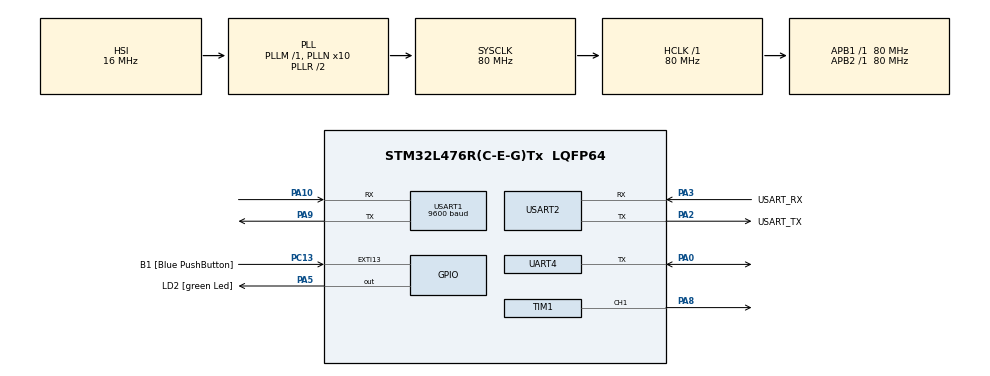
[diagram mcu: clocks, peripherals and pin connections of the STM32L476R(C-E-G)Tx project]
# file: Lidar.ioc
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Dma.Request0=UART4_RX
Dma.UART4_RX.0.Direction=DMA_PERIPH_TO_MEMORY
Dma.UART4_RX.0.Instance=DMA2_Channel5
Dma.UART4_RX.0.MemDataAlignment=DMA_MDATAALIGN_BYTE
Dma.UART4_RX.0.MemInc=DMA_MINC_ENABLE
Dma.UART4_RX.0.Mode=DMA_NORMAL
Dma.UART4_RX.0.PeriphDataAlignment=DMA_PDATAALIGN_BYTE
Dma.UART4_RX.0.PeriphInc=DMA_PINC_DISABLE
Dma.UART4_RX.0.Priority=DMA_PRIORITY_LOW
Mcu.Family=STM32L4
Mcu.Name=STM32L476R(C-E-G)Tx
Mcu.Package=LQFP64
NVIC.DMA2_Channel5_IRQn=true\:0\:0\:false\:false\:true\:false\:true\:true
NVIC.PriorityGroup=NVIC_PRIORITYGROUP_4
NVIC.UART4_IRQn=true\:0\:0\:false\:false\:true\:true\:true\:true
PA0.Mode=Half_duplex(single_wire_mode)
PA0.Signal=UART4_TX
PA10.Mode=Asynchronous
PA10.Signal=USART1_RX
PA13\ (JTMS-SWDIO).GPIO_Label=TMS
PA13\ (JTMS-SWDIO).Mode=Serial_Wire
PA13\ (JTMS-SWDIO).Signal=SYS_JTMS-SWDIO
PA14\ (JTCK-SWCLK).GPIO_Label=TCK
PA14\ (JTCK-SWCLK).Mode=Serial_Wire
PA14\ (JTCK-SWCLK).Signal=SYS_JTCK-SWCLK
PA2.GPIO_Label=USART_TX
PA2.GPIO_Mode=GPIO_MODE_AF_PP
PA2.GPIO_PuPd=GPIO_NOPULL
PA2.GPIO_Speed=GPIO_SPEED_FREQ_VERY_HIGH
PA2.Mode=Asynchronous
PA2.Signal=USART2_TX
PA3.GPIO_Label=USART_RX
PA3.GPIO_Mode=GPIO_MODE_AF_PP
PA3.GPIO_PuPd=GPIO_NOPULL
PA3.GPIO_Speed=GPIO_SPEED_FREQ_VERY_HIGH
PA3.Mode=Asynchronous
PA3.Signal=USART2_RX
PA5.GPIO_Label=LD2 [green Led]
PA5.GPIO_ModeDefaultOutputPP=GPIO_MODE_OUTPUT_PP
PA5.GPIO_PuPd=GPIO_NOPULL
PA5.GPIO_Speed=GPIO_SPEED_FREQ_LOW
PA5.Signal=GPIO_Output
PA8.Signal=S_TIM1_CH1
PA9.Mode=Asynchronous
PA9.Signal=USART1_TX
PB3\ (JTDO-TRACESWO).GPIO_Label=SWO
PB3\ (JTDO-TRACESWO).Signal=SYS_JTDO-SWO
PC13.GPIO_Label=B1 [Blue PushButton]
PC13.GPIO_ModeDefaultEXTI=GPIO_MODE_IT_FALLING
PC13.GPIO_PuPd=GPIO_NOPULL
PC13.Signal=GPXTI13
PC14-OSC32_IN\ (PC14).Mode=LSE-External-Oscillator
PC14-OSC32_IN\ (PC14).Signal=RCC_OSC32_IN
PC15-OSC32_OUT\ (PC15).Mode=LSE-External-Oscillator
PC15-OSC32_OUT\ (PC15).Signal=RCC_OSC32_OUT
PH0-OSC_IN\ (PH0).Signal=RCC_OSC_IN
PH1-OSC_OUT\ (PH1).Signal=RCC_OSC_OUT
ProjectManager.HeapSize=0x200
ProjectManager.StackSize=0x400
ProjectManager.TargetToolchain=CMake
RCC.ADCFreq_Value=64000000
RCC.AHBFreq_Value=80000000
RCC.APB1Freq_Value=80000000
RCC.APB1TimFreq_Value=80000000
RCC.APB2Freq_Value=80000000
RCC.APB2TimFreq_Value=80000000
RCC.CortexFreq_Value=80000000
RCC.HCLKFreq_Value=80000000
RCC.HSE_VALUE=8000000
RCC.HSI_VALUE=16000000
RCC.MSI_VALUE=4000000
RCC.PLLN=10
RCC.PLLSourceVirtual=RCC_PLLSOURCE_HSI
RCC.PREFETCH_ENABLE=1
RCC.SYSCLKFreq_VALUE=80000000
RCC.SYSCLKSource=RCC_SYSCLKSOURCE_PLLCLK
RCC.USBFreq_Value=64000000
RCC.VCOOutputFreq_Value=160000000
SH.S_TIM1_CH1.0=TIM1_CH1,PWM Generation1 CH1
TIM1.Channel-PWM\ Generation1\ CH1=TIM_CHANNEL_1
TIM1.Period=8000-1
UART4.Mode=MODE_TX_RX
USART1.BaudRate=9600
USART1.VirtualMode-Asynchronous=VM_ASYNC
USART2.VirtualMode-Asynchronous=VM_ASYNC
VP_TIM1_VS_ClockSourceINT.Mode=Internal
board=NUCLEO-L476RG

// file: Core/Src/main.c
/* USER CODE BEGIN Header */
/**
  ******************************************************************************
  * @file           : main.c
  * @brief          : Main program body
  ******************************************************************************
  * @attention
  *
  * Copyright (c) 2025 STMicroelectronics.
  * All rights reserved.
  *
  * This software is licensed under terms that can be found in the LICENSE file
  * in the root directory of this software component.
  * If no LICENSE file comes with this software, it is provided AS-IS.
  *
  ******************************************************************************
  */
/* USER CODE END Header */
#include "main.h"
#include "dma.h"
#include "tim.h"
#include "usart.h"
#include "gpio.h"

/* USER CODE BEGIN Includes */
#include <stdio.h>
#include "lidar.h"
#include "mp3.h"
/* USER CODE END Includes */

/* USER CODE BEGIN PV */
uint8_t lidar_buffer[UART_RX_BUFFER_SIZE];
uint8_t UART1_RxBuffer[UART_RX_BUFFER_SIZE];
int lidar_flag = 0;

uint8_t rxByte;
/* USER CODE END PV */

void SystemClock_Config(void);

/* USER CODE BEGIN 0 */
int __io_putchar(int ch){
  HAL_UART_Transmit(&huart2, (uint8_t *)&ch, 1, HAL_MAX_DELAY);
  return ch;
}

void HAL_UARTEx_RxEventCallback(UART_HandleTypeDef *huart, uint16_t Size){
  if (huart->Instance == UART4){
    HAL_GPIO_TogglePin(LD2_GPIO_Port, LD2_Pin);

    for (int i = 0; i<Size; i++){
      lidar_buffer[i] = UART1_RxBuffer[i];
    }
    HAL_UARTEx_ReceiveToIdle_DMA(&huart4, UART1_RxBuffer, UART_RX_BUFFER_SIZE);
    lidar_flag = 1;
  }
}

// void HAL_UART_RxCpltCallback(UART_HandleTypeDef *huart){
//   if (huart->Instance == UART4){
//     HAL_GPIO_TogglePin(LD2_GPIO_Port, LD2_Pin);

//     // taille = UART_RX_BUFFER_SIZE;
//     // lidar_flag = 1;
//     // for (int i = 0; i<UART_RX_BUFFER_SIZE; i++)
//     //   lidar_buffer[i] = UART1_RxBuffer[i];

//     // HAL_UARTEx_ReceiveToIdle_DMA(&huart4, UART1_RxBuffer, UART_RX_BUFFER_SIZE);
//     // HAL_UART_Transmit(&huart2, &rxByte, 1, HAL_MAX_DELAY);
//     HAL_UART_Receive_IT(&huart4, &rxByte, 1);
//   }
// }
/* USER CODE END 0 */

int main(void)
{

  /* MCU Configuration--------------------------------------------------------*/

  /* Reset of all peripherals, Initializes the Flash interface and the Systick. */
  HAL_Init();

  /* Configure the system clock */
  SystemClock_Config();

  /* Initialize all configured peripherals */
  MX_GPIO_Init();
  MX_DMA_Init();
  MX_TIM1_Init();
  MX_UART4_Init();
  MX_USART2_UART_Init();
  MX_USART1_UART_Init();
  /* USER CODE BEGIN 2 */
  printf("TEST 2\r\n");
  // HAL_UART_Receive_IT(&huart4, &rxByte, 1);

  // HAL_TIM_PWM_Start(&htim1, TIM_CHANNEL_1);
  // __HAL_TIM_SET_COMPARE(&htim1, TIM_CHANNEL_1, 0);

  // HAL_UARTEx_ReceiveToIdle_DMA(&huart4, UART1_RxBuffer, UART_RX_BUFFER_SIZE);

  /* USER CODE END 2 */

  /* Infinite loop */
  /* USER CODE BEGIN WHILE */
  while (1)
  {
    // __HAL_TIM_SET_COMPARE(&htim1, TIM_CHANNEL_1, 0.5*htim1.Init.Period);
    // HAL_Delay(5000);
    // __HAL_TIM_SET_COMPARE(&htim1, TIM_CHANNEL_1, htim1.Init.Period);
    // HAL_Delay(5000);
    // __HAL_TIM_SET_COMPARE(&htim1, TIM_CHANNEL_1, 0.5*htim1.Init.Period);
    // HAL_Delay(5000);
    // __HAL_TIM_SET_COMPARE(&htim1, TIM_CHANNEL_1, 0);
    // HAL_Delay(5000);

    // if (lidar_flag == 1){
    //   lidar_parse_frames();
    //   lidar_checksum_test();
    //   lidar_get_angle_and_distance();
    //   lidar_flag = 0;
    // }

    // HAL_Delay(1500);
    // mp3_selectStorageDevice();
    // HAL_Delay(500);
    // mp3_setVolume(20);
    // HAL_Delay(500);
    // mp3_playWithIndex(1);
    // HAL_Delay(50000);
    // mp3_stopPlay();

    /* USER CODE END WHILE */

  }
}

void SystemClock_Config(void)
{
  RCC_OscInitTypeDef RCC_OscInitStruct = {0};
  RCC_ClkInitTypeDef RCC_ClkInitStruct = {0};

  /** Configure the main internal regulator output voltage
  */
  if (HAL_PWREx_ControlVoltageScaling(PWR_REGULATOR_VOLTAGE_SCALE1) != HAL_OK)
  {
    Error_Handler();
  }

  /** Initializes the RCC Oscillators according to the specified parameters
  * in the RCC_OscInitTypeDef structure.
  */
  RCC_OscInitStruct.OscillatorType = RCC_OSCILLATORTYPE_HSI;
  RCC_OscInitStruct.HSIState = RCC_HSI_ON;
  RCC_OscInitStruct.HSICalibrationValue = RCC_HSICALIBRATION_DEFAULT;
  RCC_OscInitStruct.PLL.PLLState = RCC_PLL_ON;
  RCC_OscInitStruct.PLL.PLLSource = RCC_PLLSOURCE_HSI;
  RCC_OscInitStruct.PLL.PLLM = 1;
  RCC_OscInitStruct.PLL.PLLN = 10;
  RCC_OscInitStruct.PLL.PLLP = RCC_PLLP_DIV7;
  RCC_OscInitStruct.PLL.PLLQ = RCC_PLLQ_DIV2;
  RCC_OscInitStruct.PLL.PLLR = RCC_PLLR_DIV2;
  if (HAL_RCC_OscConfig(&RCC_OscInitStruct) != HAL_OK)
  {
    Error_Handler();
  }

  /** Initializes the CPU, AHB and APB buses clocks
  */
  RCC_ClkInitStruct.ClockType = RCC_CLOCKTYPE_HCLK|RCC_CLOCKTYPE_SYSCLK
                              |RCC_CLOCKTYPE_PCLK1|RCC_CLOCKTYPE_PCLK2;
  RCC_ClkInitStruct.SYSCLKSource = RCC_SYSCLKSOURCE_PLLCLK;
  RCC_ClkInitStruct.AHBCLKDivider = RCC_SYSCLK_DIV1;
  RCC_ClkInitStruct.APB1CLKDivider = RCC_HCLK_DIV1;
  RCC_ClkInitStruct.APB2CLKDivider = RCC_HCLK_DIV1;

  if (HAL_RCC_ClockConfig(&RCC_ClkInitStruct, FLASH_LATENCY_4) != HAL_OK)
  {
    Error_Handler();
  }
}

void Error_Handler(void)
{
  __disable_irq();
  while (1)
  {
  }
}
